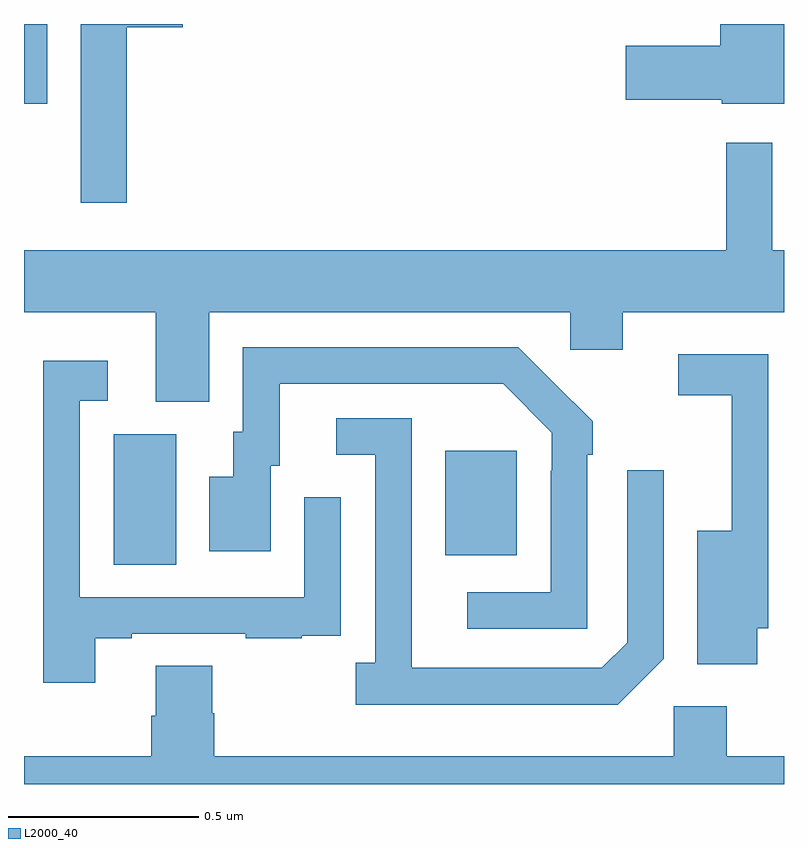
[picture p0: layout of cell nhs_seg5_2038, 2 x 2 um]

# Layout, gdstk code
import gdstk
lib = gdstk.Library(unit=1e-6, precision=1e-09)
def R(c, l, rs):  # rectangles x0, y0, x1, y1
    for r in rs: c.add(gdstk.rectangle(r[:2], r[2:], *l))
def P(c, l, *ps):  # polygons
    for p in ps: c.add(gdstk.Polygon(p, *l))
L2000_40 = (2000, 40)

nhs_seg5_2038 = lib.new_cell('nhs_seg5_2038')
R(nhs_seg5_2038, L2000_40, [(138.236,909.376,138.4,909.72), (139.109,909.401,139.297,909.676), (138,910.589,138.061,910.799)])
P(nhs_seg5_2038, L2000_40, [(138.271,910.79),(138.418,910.79),(138.418,910.799),(138.149,910.799),(138.149,910.329),(138.271,910.329)],
  [(140,910.799),(139.832,910.799),(139.832,910.742),(139.584,910.742),(139.584,910.6),(139.836,910.6),(139.836,910.589),(140,910.589)],
  [(140,910.204),(139.969,910.204),(139.969,910.486),(139.848,910.486),(139.848,910.204),(138,910.204),(138,910.04),(138.347,910.04),(138.347,909.805),(138.487,909.805),(138.487,910.04),(139.437,910.04),(139.437,909.942),(139.576,909.942),(139.576,910.04),(140,910.04)],
  [(139.482,909.665),(139.497,909.665),(139.497,909.753),(139.392,909.858),(139.391,909.857),(139.3,909.948),(138.576,909.948),(138.576,909.726),(138.551,909.726),(138.551,909.607),(138.488,909.607),(138.488,909.411),(138.649,909.411),(138.649,909.636),(138.673,909.636),(138.673,909.852),(139.261,909.852),(139.389,909.723),(139.389,909.623),(139.386,909.623),(139.386,909.303),(139.167,909.303),(139.167,909.207),(139.482,909.207)],
  [(139.93,909.209),(139.959,909.209),(139.959,909.93),(139.722,909.93),(139.722,909.822),(139.862,909.822),(139.862,909.466),(139.772,909.466),(139.772,909.114),(139.93,909.114)],
  [(138.187,909.183),(138.283,909.183),(138.283,909.195),(138.583,909.195),(138.583,909.183),(138.731,909.183),(138.731,909.189),(138.833,909.189),(138.833,909.298),(138.834,909.298),(138.834,909.553),(138.738,909.553),(138.738,909.291),(138.147,909.291),(138.147,909.807),(138.22,909.807),(138.22,909.913),(138.051,909.913),(138.051,909.066),(138.187,909.066)],
  [(139.683,909.129),(139.683,909.625),(139.587,909.625),(139.587,909.171),(139.521,909.105),(139.021,909.105),(139.021,909.305),(139.02,909.305),(139.02,909.762),(138.822,909.762),(138.822,909.666),(138.924,909.666),(138.924,909.118),(138.873,909.118),(138.873,909.008),(139.562,909.008)],
  [(140,908.872),(139.849,908.872),(139.849,909.004),(139.71,909.004),(139.71,908.872),(138.5,908.872),(138.5,908.985),(138.495,908.985),(138.495,909.11),(138.347,909.11),(138.347,908.978),(138.335,908.978),(138.335,908.872),(138,908.872),(138,908.799),(140,908.799)])

lib.write_gds('nhs_seg5_2038.gds')
